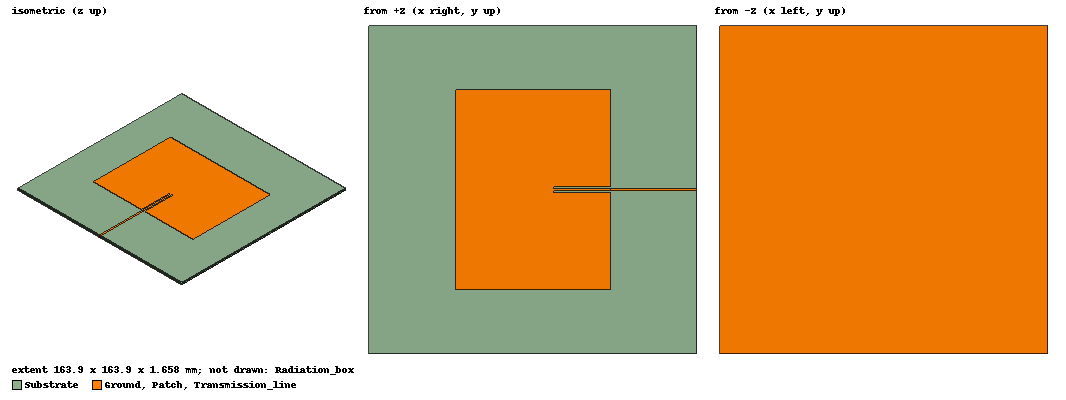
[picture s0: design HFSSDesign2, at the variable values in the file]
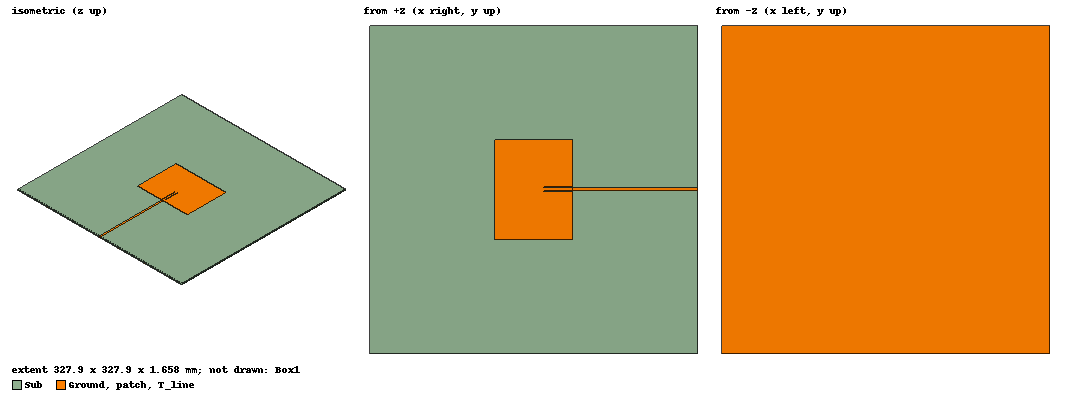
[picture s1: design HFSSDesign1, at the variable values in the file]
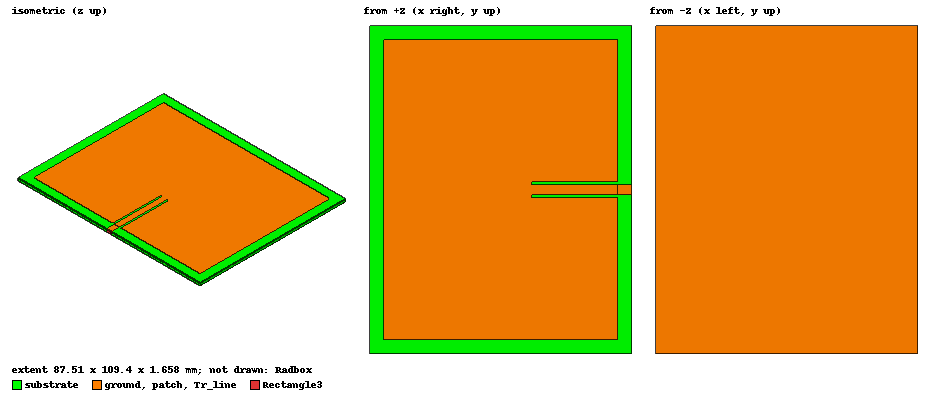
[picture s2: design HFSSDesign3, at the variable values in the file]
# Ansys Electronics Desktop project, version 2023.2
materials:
  vacuum: permittivity=1
  copper: permeability=0.999991 conductivity=58000000
  FR4_epoxy: permittivity=4.4 dielectric_loss_tangent=0.02
  air: permittivity=1.0006 permeability=1.0000004
  pec: conductivity=1e+30

design HFSSDesign2 (HFSS, HFSS Terminal Network, model units mm)
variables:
  velocity_light = 300000000m_per_sec
  f0 = 0.915GHz
  lambda = (velocity_light/f0) meter
  Xpatch = 77.27mm
  Ypatch = 99.77mm
  hsub = 1.588mm
  htrac = 0.035mm
  Transmissonline_width = 1.4mm
  Scut = 1mm
  D = -28.682mm
  Tr_length = 81.9672mm
  S = 4mm
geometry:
  Ground [pec] = rectangle(corner=(-lambda/4, -lambda/4, 0), x_size=lambda/4 + Tr_length, y_size=lambda/2)
  Ground.thicken(0.035mm)
  Substrate [FR4_epoxy] = box(corner=(-lambda/4, -lambda/4, htrac), size=(lambda/4 + Tr_length, lambda/2, hsub))
  Patch [pec] = rectangle(corner=(-Xpatch/2, -Ypatch/2, hsub+htrac), x_size=Xpatch, y_size=Ypatch)
  Transmission_line [pec] = rectangle(corner=(Xpatch/2, -Transmissonline_width/2, hsub+htrac), x_size=Tr_length-Xpatch/2, y_size=Transmissonline_width)
  [Patch, Transmission_line].thicken(0.035mm)
  port = rectangle(corner=(Tr_length, -Transmissonline_width/2, 2*htrac+hsub), y_size=Transmissonline_width, z_size=-(2*htrac+hsub))
  Radiation_box [air] = box(corner=(-lambda/2, -lambda/2, -lambda/2), size=(lambda, lambda, lambda+hsub+2*htrac))
  Rectangle1 = rectangle(corner=(Xpatch/2, -Transmissonline_width/2, hsub+htrac), x_size=-28.302mm, y_size=-Scut)
  Rectangle2 = rectangle(corner=(Xpatch/2, Transmissonline_width/2, hsub+htrac*2), x_size=-28.302mm, y_size=Scut)
  [Rectangle1, Rectangle2].thicken(0.035mm)
  Patch.subtract(Rectangle1, Rectangle2)
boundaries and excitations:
  Rad1: Radiation Objects=Radiation_box
  1: Lumped Port Objects=port LumpedPortType=Modal Modes{Mode1{IntLine{(81.9672, 0, 0.035) -> (81.9672, 0, 1.623)} CharImp=Zpi}} Impedance=50ohm
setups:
  Setup2: HfssDriven Frequency=915MHz MaxDeltaS=0.02 MaximumPasses=6 MinimumPasses=1 MinimumConvergedPasses=1 PercentRefinement=30 BasisOrder=1 PortAccuracy=2 DrivenSolverType="Direct Solver"
    sweep Sweep: 457.5MHz to 1372.5MHz, 401 points; Type=Interpolating InterpTolerance=0.5 InterpMaxSolns=250 PassivityErrorTolerance=0.0001
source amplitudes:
  1:1: 1V 0deg
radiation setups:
  Infinite Sphere1: Infinite Sphere Theta=0deg..360deg step 1deg Phi=-180deg..180deg step 1deg
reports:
  S Parameter Plot 1: dB(S(1,1)) vs Freq on Setup2 : Sweep
  S Parameter Plot 2: dB(S(1,1)) vs Freq on Setup2 : Sweep [Scut=all]
  Gain Plot 1: dB(GainTotal) vs Phi, Theta on Setup2 : LastAdaptive, Infinite Sphere1 [Freq=0.915GHz Scut=1mm]
  S Parameter Plot 3: dB(S(1,1)) vs Freq on Setup2 : Sweep [Scut=all]
  S Parameter Plot 7: dB(S(1,1)) vs Freq on Setup2 : Sweep [Xpatch=76.97mm,77.17mm Ypatch=99.67mm Scut=1mm]
  S Parameter Plot 8: dB(S(1,1)) vs Freq on Setup2 : Sweep [Xpatch=all Ypatch=all Scut=all]
  Gain Plot 2: GainTotal vs Phi, Theta on Setup2 : LastAdaptive, Infinite Sphere1 [Freq=0.915GHz Xpatch=76mm Ypatch=99.67mm Scut=1mm]
  S Parameter Plot 9: dB(S(1,1)) vs Freq on Setup2 : Sweep [Xpatch=76mm Ypatch=all Scut=1mm]
  Gain Plot 3: GainTotal vs Phi, Theta on Setup2 : LastAdaptive, Infinite Sphere1 [Freq=0.915GHz Xpatch=76mm Ypatch=99.67mm Scut=1mm]
  Gain Plot 4: dB(GainTotal) vs Phi, Theta on Setup2 : LastAdaptive, Infinite Sphere1 [Freq=0.915GHz Xpatch=76mm Ypatch=99.57mm Scut=0.9mm]
  S Parameter Plot 10: dB(S(1,1)) vs Freq on Setup2 : Sweep [Xpatch=all Ypatch=all Scut=all]
  Gain Plot 5: GainTotal vs Phi, Theta on Setup2 : LastAdaptive, Infinite Sphere1 [Freq=0.915GHz Xpatch=75.95mm Ypatch=99.87mm Scut=1mm]
  Gain Plot 6: dB(GainTotal) vs Phi, Theta on Setup2 : LastAdaptive, Infinite Sphere1 [Freq=0.915GHz Xpatch=75.95mm Ypatch=99.87mm Scut=1mm]
  Gain Plot 7: dB(GainTotal) vs Phi, Theta on Setup2 : LastAdaptive, Infinite Sphere1 [Freq=0.915GHz Xpatch=75.9mm Ypatch=99.87mm Scut=1mm]
  S Parameter Plot 11: dB(S(1,1)) vs Freq on Setup2 : Sweep
  S Parameter Plot 12: dB(S(1,1)) vs Freq on Setup2 : Sweep [Xpatch=all Transmissonline_width=all]
  S Parameter Plot 13: dB(S(1,1)) vs Freq on Setup2 : Sweep
  S Parameter Plot 14: dB(S(1,1)) vs Freq on Setup2 : Sweep
  S Parameter Plot 15: dB(S(1,1)) vs Freq on Setup2 : Sweep
  S Parameter Plot 16: dB(S(1,1)) vs Freq on Setup2 : Sweep [D=all]
  S Parameter Plot 17: dB(S(1,1)) vs Freq on Setup2 : Sweep
  S Parameter Plot 18: dB(S(1,1)) vs Freq on Setup2 : Sweep [Tr_length=all]
  S Parameter Plot 19: dB(S(1,1)) vs Freq on Setup2 : Sweep [Tr_length=all]

design HFSSDesign1 (HFSS, HFSS Terminal Network, model units mm)
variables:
  C = 300000000m_per_sec
  f0 = 915MHz
  lambda = (C/f0) meter
  Xp = 77.27mm
  Yp = 99.77mm
  Hsub = 1.588mm
  Htrac = 0.035mm
  TW = 2.99652mm
  TX_length = lambda/2
  D = 28.682mm
  S = 1mm
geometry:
  Ground [copper] = rectangle(corner=(-lambda/2, -lambda/2, 0mm), x_size=lambda, y_size=lambda)
  Ground.thicken(35um)
  Sub [FR4_epoxy] = box(corner=(-lambda/2, -lambda/2, Htrac), size=(lambda, lambda, Hsub))
  patch [copper] = rectangle(corner=(-xp/2, -Yp/2, Hsub+Htrac), x_size=Xp, y_size=Yp)
  patch.thicken(35um)
  Rectangle1 = rectangle(corner=(Xp/2, -TW/2, Hsub+Htrac), x_size=-D, y_size=-S)
  Rectangle1.thicken(35um)
  Rectangle2 = rectangle(corner=(Xp/2, TW/2, Hsub+Htrac*2), x_size=-D, y_size=S)
  Rectangle2.thicken(35um)
  patch.subtract(Rectangle1, Rectangle2)
  T_line [copper] = rectangle(corner=(Xp/2, -TW/2, Hsub+Htrac), x_size=TX_length-Xp/2, y_size=TW)
  T_line.thicken(35um)
  Rectangle3 = rectangle(corner=(Xp/2+TX_length-Xp/2, -TW/2, 0), y_size=TW, z_size=2*Htrac+Hsub)
  Box1 [air] = box(corner=(-lambda, -lambda, -lambda), size=(2*lambda, 2*lambda, 2*lambda))
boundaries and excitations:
  Rad1: Radiation Objects=Box1
  1: Lumped Port Objects=Rectangle3 LumpedPortType=Modal Modes{Mode1{IntLine{(163.93443, 0, 0) -> (163.93443, 0, 1.623)} CharImp=Zpi}} Impedance=50ohm
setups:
  Setup3: HfssDriven Frequency=915MHz MaxDeltaS=0.02 MaximumPasses=6 MinimumPasses=1 MinimumConvergedPasses=1 PercentRefinement=30 BasisOrder=1 PortAccuracy=2 DrivenSolverType="Direct Solver"
    sweep Sweep: 700MHz to 1600MHz, 401 points; Type=Fast SaveFields
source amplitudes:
  1:1: 1V 0deg

design HFSSDesign3 (HFSS, HFSS Terminal Network, model units mm)
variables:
  hsub = 1.588mm
  Xpatch = 77.98mm
  Ypatch = 99.87mm
  Htrac = 35um
  Tr_W = 3.03mm
  D = 28.682mm
  S = 1mm
  c = 300000000m_per_sec
  f0 = 915MHz
  lambda = (c/f0) meter
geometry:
  ground [pec] = rectangle(corner=(-(6*hsub+Xpatch)/2, -(6*hsub+Ypatch)/2, 0mm), x_size=(6*hsub+Xpatch), y_size=(6*hsub+Ypatch))
  ground.thicken(35um)
  substrate [FR4_epoxy] = box(corner=(-(6*hsub+Xpatch)/2, -(6*hsub+Ypatch)/2, 0mm), size=((6*hsub+Xpatch), (6*hsub+Ypatch), hsub))
  patch [pec] = rectangle(corner=(-Xpatch/2, -Ypatch/2, hsub+Htrac), x_size=Xpatch, y_size=Ypatch)
  patch.thicken(35um)
  Tr_line [pec] = rectangle(corner=(Xpatch/2, -Tr_W/2, hsub+Htrac), x_size=3*hsub, y_size=Tr_W)
  Tr_line.thicken(35um)
  Rectangle1 = rectangle(corner=(Xpatch/2, -Tr_W/2, Htrac+hsub), x_size=-D, y_size=-S)
  Rectangle1.thicken(35um)
  Rectangle2 = rectangle(corner=(Xpatch/2, Tr_W/2, Htrac*2+hsub), x_size=-D, y_size=S)
  Rectangle2.thicken(35um)
  patch.subtract(Rectangle1, Rectangle2)
  Rectangle3 = rectangle(corner=(3*hsub+Xpatch/2, -Tr_W/2, 0mm), y_size=Tr_W, z_size=hsub+2*Htrac)
  Radbox [air] = box(corner=(-(lambda/2+Xpatch/2+3*hsub)*1.5, -(lambda/2+Ypatch/2+3*hsub)*1.5, -(lambda/2)*1.5), size=((lambda+Xpatch+6*hsub)*1.5, (lambda+Ypatch+6*hsub)*1.5, (lambda+hsub+2*Htrac)*1.5))
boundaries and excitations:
  Rad1: Radiation Faces=Radbox.face(all 6)
  1: Lumped Port Objects=Rectangle3 LumpedPortType=Modal Modes{Mode1{IntLine{(43.754, 0, 0) -> (43.754, 0, 1.623)} CharImp=Zpi}} Impedance=50ohm
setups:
  Setup2: HfssDriven Frequency=915MHz MaxDeltaS=0.02 MaximumPasses=50 MinimumPasses=1 MinimumConvergedPasses=1 PercentRefinement=30 BasisOrder=1 PortAccuracy=2 DrivenSolverType="Direct Solver"
    sweep Sweep: 457.5MHz to 1372.5MHz, 401 points; Type=Interpolating InterpTolerance=0.5 InterpMaxSolns=250 PassivityErrorTolerance=0.0001
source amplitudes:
  1:1: 1V 0deg
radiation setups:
  Infinite Sphere1: Infinite Sphere Theta=0deg..360deg step 1deg Phi=-180deg..180deg step 1deg
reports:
  S Parameter Plot 1: dB(S(1,1)) vs Freq on Setup2 : Sweep; markers MX1 at x=9.2776978e+08
  S Parameter Plot 2: dB(S(1,1)) vs Freq on Setup2 : Sweep [Xpatch=all]; markers MX1 at x=9.15e+08
  S Parameter Plot 3: dB(S(1,1)) vs Freq on Setup2 : Sweep [Xpatch=all Ypatch=all]; markers MX1 at x=9.15e+08
  Gain Plot 1: dB(GainTotal) vs Phi, Theta on Setup2 : LastAdaptive, Infinite Sphere1 [Freq=0.915GHz]
  Gain Plot 2: dB(GainTotal) vs Theta on Setup2 : LastAdaptive, Infinite Sphere1 [Phi=all Freq=0.915GHz]
  Gain Plot 3: GainTotal vs Theta on Setup2 : LastAdaptive, Infinite Sphere1 [Phi=0deg Freq=0.915GHz]
  Gain Plot 4: dB(GainTotal) vs Theta on Setup2 : LastAdaptive, Infinite Sphere1 [Phi=0deg Freq=0.915GHz]
  Gain Plot 5: dB(GainTheta) vs Theta on Setup2 : LastAdaptive, Infinite Sphere1 [Phi=0deg Freq=0.915GHz]
  Gamma Plot 1: im(Gamma(1)) vs Freq on Setup2 : Sweep [Xpatch=77.98mm Ypatch=99.87mm Tr_W=3.03mm D=28.782mm]
  S Parameter Plot 4: dB(S(1,1)) vs Freq on Setup2 : Sweep [Xpatch=77.98mm Ypatch=99.87mm Tr_W=3.03mm D=28.782mm]
  S Parameter Plot 5: dB(S(1,1)) vs Freq on Setup2 : Sweep [Xpatch=all Ypatch=all Tr_W=all D=all]; markers MX1 at x=9.15e+08
  Gain Plot 6: dB(GainTotal) vs Phi, Theta on Setup2 : LastAdaptive, Infinite Sphere1 [Freq=0.915GHz Xpatch=77.98mm Ypatch=99.87mm Tr_W=3.03mm D=28.682mm]
  Z Parameter Plot 1: re(Z(1,1)), im(Z(1,1)) vs Freq on Setup2 : Sweep [Xpatch=all Ypatch=all Tr_W=all D=all]
  Z Parameter Plot 2: re(Z(1,1)), im(Z(1,1)) vs Freq on Setup2 : Sweep [Xpatch=77.98mm Ypatch=99.87mm Tr_W=3.03mm D=28.682mm]; markers MX1 at x=9.2361064e+08, MY1 at y=0
